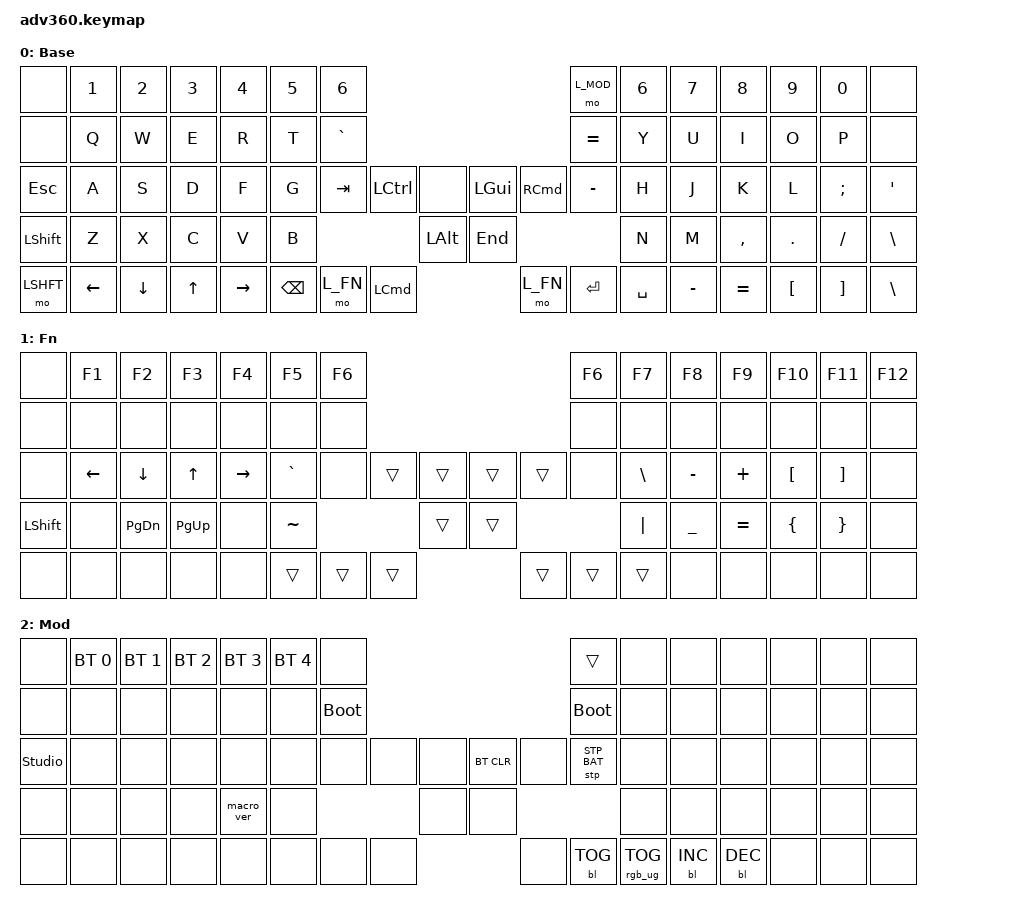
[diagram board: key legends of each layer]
#include <behaviors.dtsi>
#include <dt-bindings/zmk/keys.h>
#include <dt-bindings/zmk/bt.h>
#include <dt-bindings/zmk/rgb.h>
#include <dt-bindings/zmk/stp.h>
#include <dt-bindings/zmk/backlight.h>
#include <dt-bindings/zmk/pointing.h>


#define L_FN 1
#define L_MOD 2

/ {
    behaviors {
      #include "macros.dtsi"
      #include "version.dtsi"
      #ifndef VERSION_MACRO
      macro_ver: macro_ver {
        compatible = "zmk,behavior-macro";
        label = "macro_version";
        #binding-cells = <0>;
        bindings = <&kp RET>;
      };
      #endif

      hm: homerow_mods {
          compatible = "zmk,behavior-hold-tap";
          label = "HOMEROW_MODS";
          #binding-cells = <2>;
          tapping-term-ms = <200>;
          quick_tap_ms = <175>;
          flavor = "tap-preferred";
          bindings = <&kp>, <&kp>;
      };
    };

  keymap {
    compatible = "zmk,keymap";

    default_layer {
      display-name = "Base";
      bindings = <
        &none     &kp N1    &kp N2    &kp N3    &kp N4    &kp N5 &kp N6                                                                       &mo L_MOD &kp N6    &kp N7    &kp N8    &kp N9   &kp N0   &none
        &none     &kp Q     &kp W     &kp E     &kp R     &kp T  &kp GRAVE                                                                    &kp EQUAL &kp Y     &kp U     &kp I     &kp O    &kp P    &none
        &kp ESC   &kp A     &kp S     &kp D     &kp F     &kp G  &kp TAB              &kp LCTRL   &none     &kp LGUI  &kp RCMD                &kp MINUS &kp H     &kp J     &kp K     &kp L    &kp SEMI &kp SQT
        &kp LSHFT &kp Z     &kp X     &kp C     &kp V     &kp B                                   &kp LALT  &kp END                                     &kp N     &kp M     &kp COMMA &kp DOT  &kp FSLH &kp BSLH
        &mo LSHFT &kp LEFT  &kp DOWN  &kp UP    &kp RIGHT                   &kp BSPC  &mo L_FN    &kp LCMD  &mo L_FN  &kp ENTER    &kp SPACE                      &kp MINUS &kp EQUAL &kp LBKT &kp RBKT &kp BSLH
      >;
    };
    fn {
      display-name = "Fn";
      bindings = <
        &none     &kp F1    &kp F2    &kp F3    &kp F4    &kp F5     &kp F6                                                             &kp F6    &kp F7    &kp F8    &kp F9    &kp F10   &kp F11   &kp F12
        &none     &none     &none     &none     &none     &none      &none                                                              &none     &none     &none     &none     &none     &none     &none
        &none     &kp LEFT  &kp DOWN  &kp UP    &kp RIGHT &kp GRAVE  &none              &trans    &trans    &trans    &trans            &none     &kp BSLH  &kp MINUS &kp PLUS  &kp LBKT  &kp RBKT  &none
        &kp LSHFT &none     &kp PG_DN &kp PG_UP &none     &kp TILDE                               &trans    &trans                                &kp PIPE  &kp UNDER &kp EQUAL &kp LBRC  &kp RBRC  &none
        &none     &none     &none     &none     &none                       &trans      &trans    &trans    &trans    &trans    &trans                      &none     &none     &none     &none     &none
      >;
    };
    mod {
      display-name = "Mod";
      bindings = <
        &none &bt BT_SEL 0 &bt BT_SEL 1 &bt BT_SEL 2 &bt BT_SEL 3 &bt BT_SEL 4 &none                                                                     &trans                 &none        &none        &none        &none &none &none
        &none &none        &none        &none        &none        &none        &bootloader                                                               &bootloader            &none        &none        &none        &none &none &none
        &studio_unlock &none        &none        &none        &none        &none        &none                   &none &none &bt BT_CLR &none                      &stp STP_BAT &none        &none        &none        &none &none &none
        &none &none        &none        &none        &macro_ver   &none                                      &none &none                                                        &none        &none        &none        &none &none &none
        &none &none        &none        &none        &none                                       &none &none &none &none      &bl BL_TOG &rgb_ug RGB_TOG                                     &bl BL_INC   &bl BL_DEC   &none &none &none
      >;
    };
    
    extra1 {
      display-name = "Red";
      status = "reserved";
    };

    extra2 {
      display-name = "Purple";
      status = "reserved";
    };

    extra3 {
      display-name = "Cyan";
      status = "reserved";
    };

    extra4 {
      display-name = "Yellow";
      status = "reserved";
    };

  };
};
